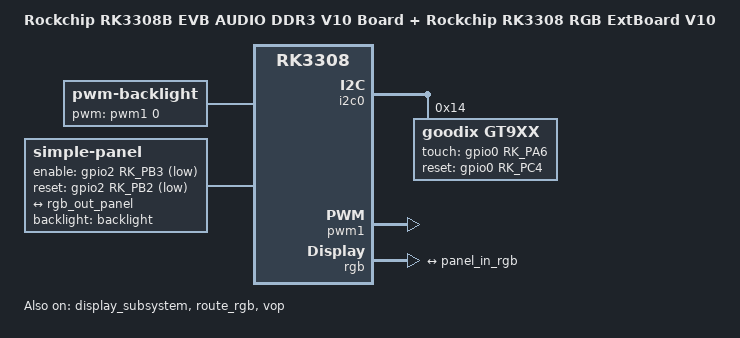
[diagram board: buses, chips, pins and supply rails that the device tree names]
// SPDX-License-Identifier: (GPL-2.0+ OR MIT)
/*
 * Copyright (c) 2022 Rockchip Electronics Co., Ltd
 */

/dts-v1/;

#include "rk3308-evb-audio-amic-v10.dts"

/ {
	model = "Rockchip RK3308B EVB AUDIO DDR3 V10 Board + Rockchip RK3308 RGB ExtBoard V10";
	compatible = "rockchip,rk3308-evb-audio-rgb-display-v10", "rockchip,rk3308";

	backlight: backlight {
		status = "okay";
		compatible = "pwm-backlight";
		pwms = <&pwm1 0 25000 0>;
		brightness-levels = <
			  0   1   2   3   4   5   6   7
			  8   9  10  11  12  13  14  15
			 16  17  18  19  20  21  22  23
			 24  25  26  27  28  29  30  31
			 32  33  34  35  36  37  38  39
			 40  41  42  43  44  45  46  47
			 48  49  50  51  52  53  54  55
			 56  57  58  59  60  61  62  63
			 64  65  66  67  68  69  70  71
			 72  73  74  75  76  77  78  79
			 80  81  82  83  84  85  86  87
			 88  89  90  91  92  93  94  95
			 96  97  98  99 100 101 102 103
			104 105 106 107 108 109 110 111
			112 113 114 115 116 117 118 119
			120 121 122 123 124 125 126 127
			128 129 130 131 132 133 134 135
			136 137 138 139 140 141 142 143
			144 145 146 147 148 149 150 151
			152 153 154 155 156 157 158 159
			160 161 162 163 164 165 166 167
			168 169 170 171 172 173 174 175
			176 177 178 179 180 181 182 183
			184 185 186 187 188 189 190 191
			192 193 194 195 196 197 198 199
			200 201 202 203 204 205 206 207
			208 209 210 211 212 213 214 215
			216 217 218 219 220 221 222 223
			224 225 226 227 228 229 230 231
			232 233 234 235 236 237 238 239
			240 241 242 243 244 245 246 247
			248 249 250 251 252 253 254 255>;
		default-brightness-level = <200>;
	};

	panel: panel {
		compatible = "simple-panel";
		bus-format = <MEDIA_BUS_FMT_RGB666_1X18>;
		backlight = <&backlight>;
		enable-gpios = <&gpio2 RK_PB3 GPIO_ACTIVE_LOW>;
		enable-delay-ms = <20>;
		reset-gpios = <&gpio2 RK_PB2 GPIO_ACTIVE_LOW>;
		reset-value = <0>;
		reset-delay-ms = <10>;
		status = "okay";

		display-timings {
			native-mode = <&fx070_dhm11boe_timing>;

			fx070_dhm11boe_timing: timing0 {
				clock-frequency = <50000000>;
				hactive = <1024>;
				vactive = <600>;
				hback-porch = <140>;
				hfront-porch = <160>;
				vback-porch = <20>;
				vfront-porch = <20>;
				hsync-len = <20>;
				vsync-len = <2>; //value range <2~22>
				hsync-active = <0>;
				vsync-active = <0>;
				de-active = <0>;
				pixelclk-active = <1>;
			};
		};

		port {
			panel_in_rgb: endpoint {
				remote-endpoint = <&rgb_out_panel>;
			};
		};
	};

	reserved-memory {
		#address-cells = <2>;
		#size-cells = <2>;
		ranges;

		cma {
			compatible = "shared-dma-pool";
			reusable;
			size = <0x0 0x1000000>;
			linux,cma-default;
		};
	};
};

&display_subsystem {
	status = "okay";
};

&i2c0 {
	status = "okay";
	gt9xx: gt9xx@14 {
		compatible = "goodix,gt9xx";
		reg = <0x14>;
		pinctrl-names = "default";
		pinctrl-0 = <&tp_int>;
		touch-gpio = <&gpio0 RK_PA6 IRQ_TYPE_LEVEL_HIGH>;
		reset-gpio = <&gpio0 RK_PC4 GPIO_ACTIVE_HIGH>;
		max-x = <1024>;
		max-y = <600>;
		tp-size = <9110>;
	};
};

&pwm1 {
	status = "okay";
};

&rgb {
	status = "okay";
	pinctrl-names = "default";
	pinctrl-0 = <&lcdc_ctl>;

	ports {
		rgb_out: port@1 {
			reg = <1>;
			#address-cells = <1>;
			#size-cells = <0>;

			rgb_out_panel: endpoint@0 {
				reg = <0>;
				remote-endpoint = <&panel_in_rgb>;
			};
		};
	};
};

&route_rgb {
	status = "okay";
};

&vop {
	status = "okay";
};

&pinctrl {
	tp {
		tp_int: tp-int {
			rockchip,pins = <0 RK_PA6 RK_FUNC_GPIO &pcfg_pull_none>;
		};
	};
};
